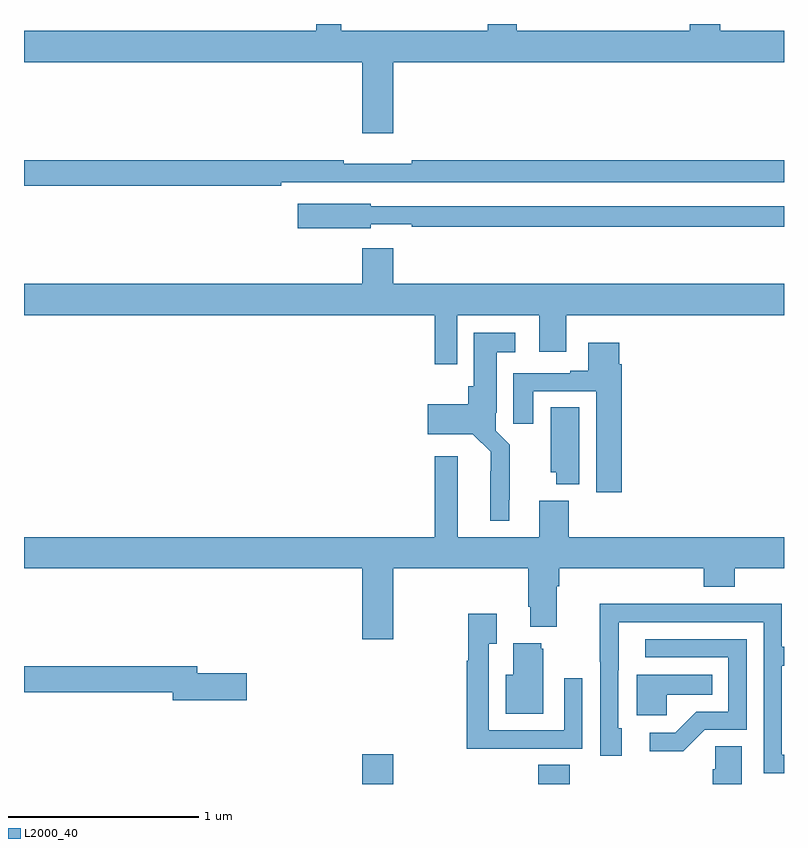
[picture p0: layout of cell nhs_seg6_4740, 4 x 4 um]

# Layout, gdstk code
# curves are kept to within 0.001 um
import gdstk
lib = gdstk.Library(unit=1e-6, precision=1e-09)
def R(c, l, rs):  # rectangles x0, y0, x1, y1
    for r in rs: c.add(gdstk.rectangle(r[:2], r[2:], *l))
def P(c, l, *ps):  # polygons
    for p in ps: c.add(gdstk.Polygon(p, *l))
L2000_40 = (2000, 40)

nhs_seg6_4740 = lib.new_cell('nhs_seg6_4740')
R(nhs_seg6_4740, L2000_40, [(392.78,979.5,392.944,979.657), (393.707,979.5,393.872,979.601)])
P(nhs_seg6_4740, L2000_40, [(392.944,983.3),(395,983.3),(395,983.464),(394.665,983.464),(394.665,983.5),(394.505,983.5),(394.505,983.464),(393.593,983.464),(393.593,983.5),(393.44,983.5),(393.44,983.464),(392.669,983.464),(392.669,983.5),(392.539,983.5),(392.539,983.464),(391,983.464),(391,983.3),(392.78,983.3),(392.78,982.926),(392.944,982.926)],
  [(392.354,982.668),(395,982.668),(395,982.784),(393.04,982.784),(393.04,982.765),(392.684,982.765),(392.684,982.784),(391,982.784),(391,982.648),(392.354,982.648)],
  [(392.826,982.446),(393.04,982.446),(393.04,982.434),(395,982.434),(395,982.542),(392.826,982.542),(392.826,982.555),(392.442,982.555),(392.442,982.426),(392.826,982.426)],
  [(393.279,981.968),(393.713,981.968),(393.713,981.774),(393.853,981.774),(393.853,981.968),(395,981.968),(395,982.132),(392.944,982.132),(392.944,982.321),(392.78,982.321),(392.78,982.132),(391,982.132),(391,981.968),(393.163,981.968),(393.163,981.708),(393.279,981.708)],
  [(393.553,980.995),(393.557,980.995),(393.557,981.286),(393.483,981.36),(393.483,981.454),(393.487,981.454),(393.487,981.773),(393.586,981.773),(393.586,981.874),(393.368,981.874),(393.368,981.594),(393.338,981.594),(393.338,981.499),(393.126,981.499),(393.126,981.341),(393.363,981.341),(393.456,981.248),(393.455,980.885),(393.553,980.885)],
  [(394.145,981.71),(394.132,981.71),(394.132,981.823),(393.971,981.823),(393.971,981.676),(393.875,981.676),(393.875,981.663),(393.575,981.663),(393.575,981.396),(393.679,981.396),(393.679,981.567),(394.013,981.567),(394.013,981.036),(394.145,981.036)],
  [(393.922,981.482),(393.773,981.482),(393.773,981.141),(393.8,981.141),(393.8,981.077),(393.922,981.077)],
  [(392.944,980.636),(393.653,980.636),(393.653,980.434),(393.665,980.434),(393.665,980.327),(393.805,980.327),(393.805,980.54),(393.818,980.54),(393.818,980.636),(394.577,980.636),(394.577,980.537),(394.742,980.537),(394.742,980.636),(395,980.636),(395,980.8),(393.866,980.8),(393.866,980.992),(393.713,980.992),(393.713,980.8),(393.283,980.8),(393.283,981.226),(393.161,981.226),(393.161,980.8),(391,980.8),(391,980.636),(392.78,980.636),(392.78,980.262),(392.944,980.262)],
  [(395,979.653),(394.989,979.653),(394.989,980.122),(395,980.122),(395,980.223),(394.989,980.223),(394.989,980.448),(394.493,980.448),(394.493,980.45),(394.03,980.45),(394.03,980.143),(394.032,980.143),(394.032,979.65),(394.147,979.65),(394.147,979.794),(394.128,979.794),(394.128,980.098),(394.129,980.098),(394.129,980.352),(394.893,980.352),(394.893,979.557),(395,979.557)],
  [(393.623,979.686),(393.939,979.686),(393.939,980.056),(393.843,980.056),(393.843,979.782),(393.447,979.782),(393.447,980.239),(393.487,980.239),(393.487,980.395),(393.339,980.395),(393.339,980.15),(393.331,980.15),(393.331,979.685),(393.623,979.685)],
  [(394.584,979.785),(394.803,979.785),(394.803,980.262),(394.269,980.262),(394.269,980.166),(394.707,980.166),(394.707,979.881),(394.538,979.881),(394.427,979.77),(394.293,979.77),(394.293,979.673),(394.471,979.673)],
  [(393.733,980.211),(393.722,980.211),(393.722,980.242),(393.575,980.242),(393.575,980.074),(393.536,980.074),(393.536,979.871),(393.733,979.871)],
  [(392.173,980.084),(391.912,980.084),(391.912,980.12),(391,980.12),(391,979.984),(391.784,979.984),(391.784,979.942),(392.173,979.942)],
  [(394.383,979.97),(394.622,979.97),(394.622,980.074),(394.226,980.074),(394.226,979.862),(394.383,979.862)],
  [(394.777,979.7),(394.638,979.7),(394.638,979.577),(394.625,979.577),(394.625,979.5),(394.777,979.5)])

lib.write_gds('nhs_seg6_4740.gds')
